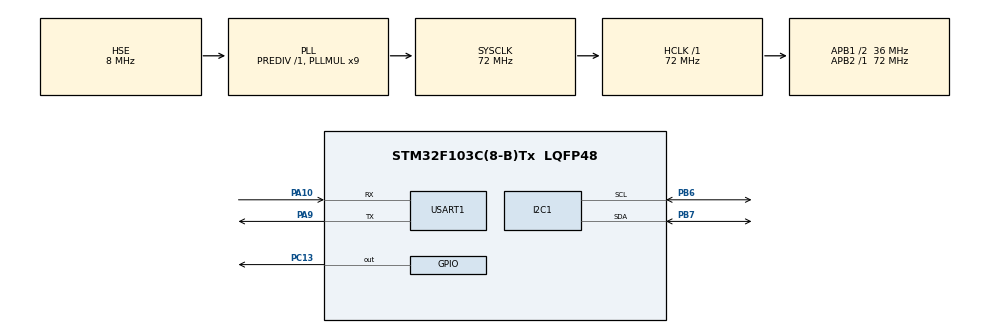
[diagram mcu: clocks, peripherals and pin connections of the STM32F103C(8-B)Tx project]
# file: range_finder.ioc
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Mcu.Family=STM32F1
Mcu.Name=STM32F103C(8-B)Tx
Mcu.Package=LQFP48
NVIC.PriorityGroup=NVIC_PRIORITYGROUP_4
PA10.Mode=Asynchronous
PA10.Signal=USART1_RX
PA13.Mode=Serial_Wire
PA13.Signal=SYS_JTMS-SWDIO
PA14.Mode=Serial_Wire
PA14.Signal=SYS_JTCK-SWCLK
PA9.Mode=Asynchronous
PA9.Signal=USART1_TX
PB6.Mode=I2C
PB6.Signal=I2C1_SCL
PB7.Mode=I2C
PB7.Signal=I2C1_SDA
PC13-TAMPER-RTC.PinState=GPIO_PIN_SET
PC13-TAMPER-RTC.Signal=GPIO_Output
PD0-OSC_IN.Mode=HSE-External-Oscillator
PD0-OSC_IN.Signal=RCC_OSC_IN
PD1-OSC_OUT.Mode=HSE-External-Oscillator
PD1-OSC_OUT.Signal=RCC_OSC_OUT
ProjectManager.HeapSize=0x200
ProjectManager.StackSize=0x400
ProjectManager.TargetToolchain=STM32CubeIDE
RCC.AHBFreq_Value=72000000
RCC.APB1CLKDivider=RCC_HCLK_DIV2
RCC.APB1Freq_Value=36000000
RCC.APB1TimFreq_Value=72000000
RCC.APB2Freq_Value=72000000
RCC.APB2TimFreq_Value=72000000
RCC.HCLKFreq_Value=72000000
RCC.PLLMUL=RCC_PLL_MUL9
RCC.PLLSourceVirtual=RCC_PLLSOURCE_HSE
RCC.SYSCLKFreq_VALUE=72000000
RCC.SYSCLKSource=RCC_SYSCLKSOURCE_PLLCLK
RCC.USBFreq_Value=72000000
USART1.VirtualMode=VM_ASYNC
board=custom

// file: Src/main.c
/* USER CODE BEGIN Header */
/**
  ******************************************************************************
  * @file           : main.c
  * @brief          : Main program body
  ******************************************************************************
  * @attention
  *
  * Copyright (c) 2025 STMicroelectronics.
  * All rights reserved.
  *
  * This software is licensed under terms that can be found in the LICENSE file
  * in the root directory of this software component.
  * If no LICENSE file comes with this software, it is provided AS-IS.
  *
  ******************************************************************************
  */
/* USER CODE END Header */
#include "main.h"
#include "i2c.h"
#include "usart.h"
#include "gpio.h"

/* USER CODE BEGIN Includes */
#include "vl53l0x.h"
#include <stdbool.h>
#include <string.h>
#include <stdio.h>
#include <stdint.h>
/* USER CODE END Includes */

/* USER CODE BEGIN PV */
/* Variaveis globais */
static uint16_t current_distance_mm = 0;
static bool sensor_initialized_ok = false;
static uint8_t rx_buffer[16];
static bool command_received = false;
static uint32_t uwTick_last_measurement = 0;
static uint32_t init_start_time = 0;
static bool init_blink_period = true;

/* Flag para controle da recepção UART */
volatile uint8_t uart_rx_complete = 0;
/* USER CODE END PV */

void SystemClock_Config(void);
/* USER CODE BEGIN PFP */
static void I2C_Scan_Bus(void);
static void Start_Uart_Reception(void);
/* USER CODE END PFP */

int main(void)
{

  /* MCU Configuration--------------------------------------------------------*/

  /* Reset of all peripherals, Initializes the Flash interface and the Systick. */
  HAL_Init();

  /* Configure the system clock */
  SystemClock_Config();

  /* Initialize all configured peripherals */
  MX_GPIO_Init();
  MX_I2C1_Init();
  MX_USART1_UART_Init();
  /* USER CODE BEGIN 2 */

  /* Garante que o LED começa apagado */
  HAL_GPIO_WritePin(LED_AZUL_GPIO_Port, LED_AZUL_Pin, GPIO_PIN_SET); // LED é ativo baixo

  /* Tenta inicializar o sensor VL53L0X */
  VL53L0X_Status init_status = VL53L0X_Init(&hi2c1);
  sensor_initialized_ok = (init_status == VL53L0X_OK);

  /* Log do status de inicialização */
  char init_msg[64];
  sprintf(init_msg, "Status inicializacao: %s (code: %d)\r\n",
          sensor_initialized_ok ? "OK" : "ERRO", init_status);
  HAL_UART_Transmit(&huart1, (uint8_t*)init_msg, strlen(init_msg), 100);

  /* Configura modo de alta precisão se inicialização OK */
  if(sensor_initialized_ok) {
      VL53L0X_Status accuracy_status = VL53L0X_SetHighAccuracy(&hi2c1);
      if(accuracy_status != VL53L0X_OK) {
          sensor_initialized_ok = false;
          sprintf(init_msg, "Erro ao configurar alta precisao (code: %d)\r\n", accuracy_status);
          HAL_UART_Transmit(&huart1, (uint8_t*)init_msg, strlen(init_msg), 100);
      }
  }

  /* Inicia contagem do período de 10s se sensor foi inicializado */
  if(sensor_initialized_ok) {
    init_start_time = HAL_GetTick();
    init_blink_period = true;
  }

  /* Envia mensagens de boas-vindas */
  HAL_UART_Transmit(&huart1, (uint8_t*)"bem vindo ao console de informações\r\n", 37, 100);
  char msg[64];
  sprintf(msg, "Sensor range finder %s\r\n", sensor_initialized_ok ? "iniciado" : "nao iniciado");
  HAL_UART_Transmit(&huart1, (uint8_t*)msg, strlen(msg), 100);
  HAL_UART_Transmit(&huart1, (uint8_t*)"distancia medida a 5hz se disponivel.\r\n", 39, 100);
  HAL_UART_Transmit(&huart1, (uint8_t*)"> ", 2, 100);

  /* Inicia a recepção UART em modo IT */
  Start_Uart_Reception();

  /* USER CODE END 2 */

  /* Infinite loop */
  while (1)
  {

    /* USER CODE BEGIN 3 */
    /* Medição de distância a 5Hz (200ms) */
    if(HAL_GetTick() - uwTick_last_measurement >= 200)
    {
      uwTick_last_measurement = HAL_GetTick();

      if(sensor_initialized_ok)
      {
        /* Lê a distância do sensor */
        VL53L0X_RangingData ranging_data = {0};
        VL53L0X_Status read_status = VL53L0X_ReadRangingData(&hi2c1, &ranging_data);

        if(read_status == VL53L0X_OK)
        {
          /* Envia os dados detalhados pela UART */
          char msg[64];
          sprintf(msg, "Dist: %u mm, Status: %u, Signal: %u\r\n",
                  ranging_data.distance_mm,
                  ranging_data.rangeStatus,
                  ranging_data.signalRate);
          HAL_UART_Transmit(&huart1, (uint8_t*)msg, strlen(msg), 100);

          current_distance_mm = ranging_data.distance_mm;

          /* Controle do LED baseado na distância e tempo */
          if(init_blink_period)
          {
            /* Durante os primeiros 10 segundos, pisca o LED */
            if(HAL_GetTick() - init_start_time <= 10000)
            {
              HAL_GPIO_TogglePin(LED_AZUL_GPIO_Port, LED_AZUL_Pin);
            }
            else
            {
              init_blink_period = false;
              HAL_GPIO_WritePin(LED_AZUL_GPIO_Port, LED_AZUL_Pin, GPIO_PIN_SET); // Apaga LED
            }
          }
          else
          {
            /* Após 10s, LED acende apenas se objeto próximo */
            if(current_distance_mm < 100)
            {
              HAL_GPIO_WritePin(LED_AZUL_GPIO_Port, LED_AZUL_Pin, GPIO_PIN_RESET); // Acende LED
            }
            else
            {
              HAL_GPIO_WritePin(LED_AZUL_GPIO_Port, LED_AZUL_Pin, GPIO_PIN_SET); // Apaga LED
            }
          }
        }
        else
        {
          /* Em caso de erro de leitura, apaga o LED */
          HAL_GPIO_WritePin(LED_AZUL_GPIO_Port, LED_AZUL_Pin, GPIO_PIN_SET);
        }
      }
    }

    /* Processamento de comando recebido */
    if(command_received)
    {
      if(strcmp((char*)rx_buffer, "i2c_bar") == 0)
      {
        HAL_UART_Transmit(&huart1, (uint8_t*)"\r\nIniciando I2C Bus Scan (i2cdetect-like)...\r\n", 46, 100);
        I2C_Scan_Bus();
        HAL_UART_Transmit(&huart1, (uint8_t*)"\r\n> ", 4, 100);
      }

      /* Limpa buffer e flag */
      memset(rx_buffer, 0, sizeof(rx_buffer));
      command_received = false;

      /* Reinicia recepção UART */
      Start_Uart_Reception();
    }
  }
  /* USER CODE END 3 */
}

void SystemClock_Config(void)
{
  RCC_OscInitTypeDef RCC_OscInitStruct = {0};
  RCC_ClkInitTypeDef RCC_ClkInitStruct = {0};

  /** Initializes the RCC Oscillators according to the specified parameters
  * in the RCC_OscInitTypeDef structure.
  */
  RCC_OscInitStruct.OscillatorType = RCC_OSCILLATORTYPE_HSE;
  RCC_OscInitStruct.HSEState = RCC_HSE_ON;
  RCC_OscInitStruct.HSEPredivValue = RCC_HSE_PREDIV_DIV1;
  RCC_OscInitStruct.HSIState = RCC_HSI_ON;
  RCC_OscInitStruct.PLL.PLLState = RCC_PLL_ON;
  RCC_OscInitStruct.PLL.PLLSource = RCC_PLLSOURCE_HSE;
  RCC_OscInitStruct.PLL.PLLMUL = RCC_PLL_MUL9;
  if (HAL_RCC_OscConfig(&RCC_OscInitStruct) != HAL_OK)
  {
    Error_Handler();
  }

  /** Initializes the CPU, AHB and APB buses clocks
  */
  RCC_ClkInitStruct.ClockType = RCC_CLOCKTYPE_HCLK|RCC_CLOCKTYPE_SYSCLK
                              |RCC_CLOCKTYPE_PCLK1|RCC_CLOCKTYPE_PCLK2;
  RCC_ClkInitStruct.SYSCLKSource = RCC_SYSCLKSOURCE_PLLCLK;
  RCC_ClkInitStruct.AHBCLKDivider = RCC_SYSCLK_DIV1;
  RCC_ClkInitStruct.APB1CLKDivider = RCC_HCLK_DIV2;
  RCC_ClkInitStruct.APB2CLKDivider = RCC_HCLK_DIV1;

  if (HAL_RCC_ClockConfig(&RCC_ClkInitStruct, FLASH_LATENCY_2) != HAL_OK)
  {
    Error_Handler();
  }
}

/* USER CODE BEGIN 4 */
/**
  * @brief I2C Bus Scanner function
  * @note Scans all valid I2C addresses (0x01-0x7F) and prints results
  * @retval None
  */
static void I2C_Scan_Bus(void)
{
    char msg[64];
    uint8_t i, j;

    HAL_UART_Transmit(&huart1, (uint8_t*)"     0  1  2  3  4  5  6  7  8  9  A  B  C  D  E  F\r\n", 49, 100);

    for(i = 0; i < 8; i++)
    {
        sprintf(msg, "%02X: ", i * 16);
        HAL_UART_Transmit(&huart1, (uint8_t*)msg, 4, 100);

        for(j = 0; j < 16; j++)
        {
            uint8_t address = (i * 16) + j;
            if(address >= 0x01 && address <= 0x77)  // Valid I2C addresses
            {
                // Try to communicate with the device
                if(HAL_I2C_IsDeviceReady(&hi2c1, address << 1, 2, 5) == HAL_OK)
                {
                    sprintf(msg, "%02X ", address);
                }
                else
                {
                    sprintf(msg, "-- ");
                }
            }
            else
            {
                sprintf(msg, "   ");
            }
            HAL_UART_Transmit(&huart1, (uint8_t*)msg, 3, 100);
        }
        HAL_UART_Transmit(&huart1, (uint8_t*)"\r\n", 2, 100);
    }
}

/**
  * @brief Start UART receive in interrupt mode
  * @retval None
  */
static void Start_Uart_Reception(void)
{
    memset(rx_buffer, 0, sizeof(rx_buffer));
    HAL_UART_Receive_IT(&huart1, rx_buffer, 1);
}

/**
  * @brief UART Reception Complete Callback
  * @param huart UART handle
  * @retval None
  */
void HAL_UART_RxCpltCallback(UART_HandleTypeDef *huart)
{
    static uint8_t rx_index = 0;

    if(huart->Instance == USART1)
    {
        if(rx_buffer[rx_index] == '\r' || rx_buffer[rx_index] == '\n')
        {
            rx_buffer[rx_index] = 0; // Null terminate
            rx_index = 0;
            command_received = true;
        }
        else
        {
            rx_index++;
            if(rx_index >= sizeof(rx_buffer) - 1)
            {
                rx_index = 0; // Buffer overflow protection
            }
            // Reinicia recepção para próximo caractere
            HAL_UART_Receive_IT(&huart1, &rx_buffer[rx_index], 1);
        }
    }
}
/* USER CODE END 4 */

void Error_Handler(void)
{
  __disable_irq();
  while (1)
  {
  }
}
